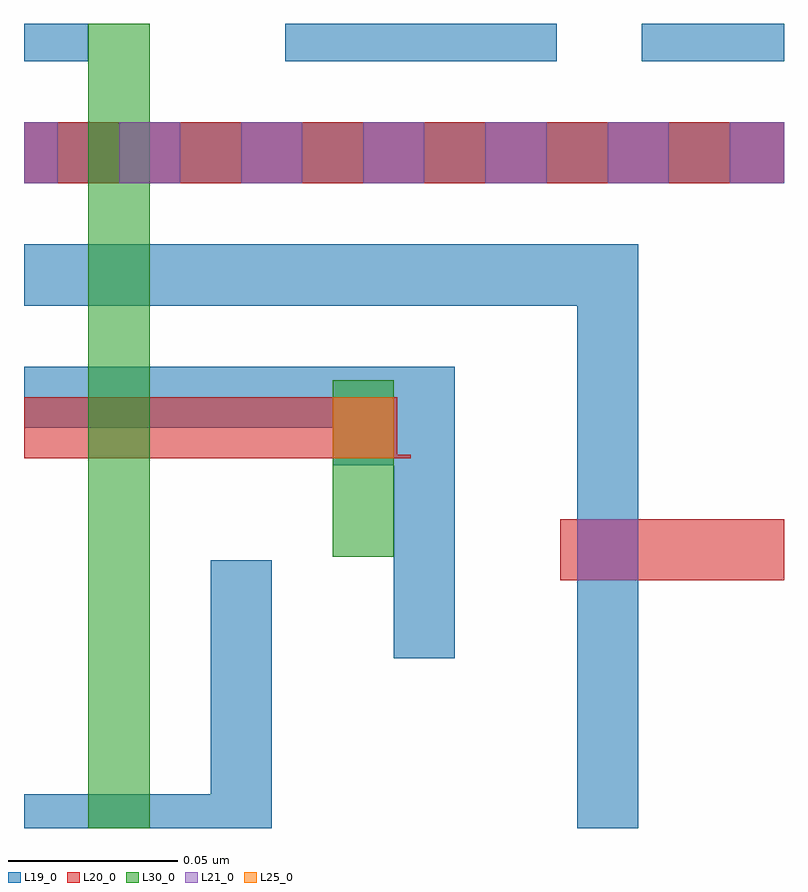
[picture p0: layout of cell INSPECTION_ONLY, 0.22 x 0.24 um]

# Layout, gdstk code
import gdstk
lib = gdstk.Library(unit=1e-6, precision=2.5e-10)
def R(c, l, rs):  # rectangles x0, y0, x1, y1
    for r in rs: c.add(gdstk.rectangle(r[:2], r[2:], *l))
def A(c, l, x, y, w, h, nx, ny, dx, dy):  # array of equal rectangles
    R(c, l, [(x+i*dx, y+j*dy, x+i*dx+w, y+j*dy+h) for i in range(nx) for j in range(ny)])
def P(c, l, *ps):  # polygons
    for p in ps: c.add(gdstk.Polygon(p, *l))
L19_0 = (19, 0)
L20_0 = (20, 0)
L21_0 = (21, 0)
L25_0 = (25, 0)
L30_0 = (30, 0)

inspection_only = lib.new_cell('INSPECTION_ONLY')
R(inspection_only, L19_0, [(5.472,3.922,5.49,3.944), (5.4,3.958,5.418,3.98), (5.309,4.041,5.533,4.059), (5.309,4.041,5.533,4.059), (5.309,4.041,5.508,4.059), (5.309,4.041,5.346,4.059), (5.346,4.041,5.533,4.059), (5.508,4.041,5.533,4.059), (5.309,4.077,5.328,4.088), (5.386,4.077,5.466,4.088), (5.491,4.077,5.533,4.088)])
P(inspection_only, L19_0, [(5.309,3.851),(5.309,3.861),(5.364,3.861),(5.364,3.93),(5.382,3.93),(5.382,3.851)],
  [(5.418,3.901),(5.418,3.969),(5.309,3.969),(5.309,3.987),(5.436,3.987),(5.436,3.901)],
  [(5.472,3.851),(5.472,4.005),(5.309,4.005),(5.309,4.023),(5.49,4.023),(5.49,3.851)])
R(inspection_only, L20_0, [(5.467,3.924,5.533,3.942), (5.309,4.041,5.533,4.059)])
P(inspection_only, L20_0, [(5.309,3.96),(5.309,3.978),(5.419,3.978),(5.419,3.961),(5.423,3.961),(5.423,3.96)])
A(inspection_only, L21_0, 5.337, 4.041, 0.018, 0.018, 5, 1, 0.036, 0)
R(inspection_only, L21_0, [(5.472,3.924,5.49,3.942), (5.4,3.96,5.418,3.978), (5.309,4.041,5.319,4.059), (5.517,4.041,5.533,4.059)])
R(inspection_only, L25_0, [(5.4,3.96,5.418,3.978)])
R(inspection_only, L30_0, [(5.328,3.851,5.346,4.088), (5.4,3.931,5.418,3.983)])

lib.write_gds('INSPECTION_ONLY.gds')
